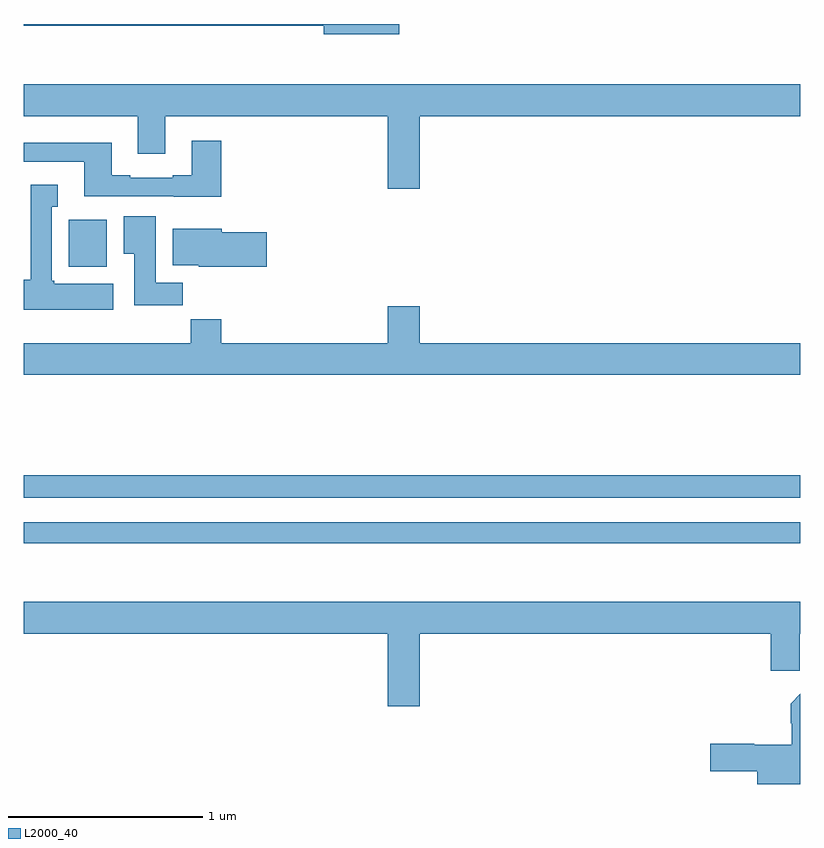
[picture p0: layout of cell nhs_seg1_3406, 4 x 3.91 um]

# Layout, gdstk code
import gdstk
lib = gdstk.Library(unit=1e-6, precision=1e-09)
def R(c, l, rs):  # rectangles x0, y0, x1, y1
    for r in rs: c.add(gdstk.rectangle(r[:2], r[2:], *l))
def P(c, l, *ps):  # polygons
    for p in ps: c.add(gdstk.Polygon(p, *l))
L2000_40 = (2000, 40)

nhs_seg1_3406 = lib.new_cell('nhs_seg1_3406')
R(nhs_seg1_3406, L2000_40, [(295,557.526,299,557.634), (295,557.76,299,557.876), (295.232,558.95,295.429,559.192)])
P(nhs_seg1_3406, L2000_40, [(296.935,560.199),(295,560.199),(295,560.19),(296.546,560.19),(296.546,560.147),(296.935,560.147)],
  [(297.04,559.724),(299,559.724),(299,559.888),(295,559.888),(295,559.724),(295.589,559.724),(295.589,559.53),(295.729,559.53),(295.729,559.724),(296.876,559.724),(296.876,559.35),(297.04,559.35)],
  [(296.018,559.597),(295.865,559.597),(295.865,559.42),(295.769,559.42),(295.769,559.407),(295.549,559.407),(295.549,559.42),(295.453,559.42),(295.453,559.588),(295,559.588),(295,559.491),(295.313,559.491),(295.313,559.311),(295.773,559.311),(295.773,559.31),(296.018,559.31)],
  [(295.462,558.862),(295.158,558.862),(295.158,558.876),(295.144,558.876),(295.144,559.259),(295.177,559.259),(295.177,559.372),(295.037,559.372),(295.037,558.882),(295,558.882),(295,558.728),(295.462,558.728)],
  [(295.82,558.868),(295.681,558.868),(295.681,559.21),(295.517,559.21),(295.517,559.016),(295.571,559.016),(295.571,558.75),(295.82,558.75)],
  [(296.251,559.127),(296.02,559.127),(296.02,559.144),(295.769,559.144),(295.769,558.956),(295.902,558.956),(295.902,558.95),(296.251,558.95)],
  [(296.876,558.745),(296.876,558.556),(296.018,558.556),(296.018,558.68),(295.861,558.68),(295.861,558.556),(295,558.556),(295,558.392),(299,558.392),(299,558.556),(297.04,558.556),(297.04,558.745)],
  [(297.04,557.06),(298.847,557.06),(298.847,556.869),(298.997,556.869),(298.997,557.06),(299,557.06),(299,557.224),(295,557.224),(295,557.06),(296.876,557.06),(296.876,556.686),(297.04,556.686)],
  [(299,556.75),(298.949,556.699),(298.949,556.598),(298.955,556.598),(298.955,556.488),(298.761,556.488),(298.761,556.493),(298.536,556.493),(298.536,556.351),(298.778,556.351),(298.778,556.286),(299,556.286)])

lib.write_gds('nhs_seg1_3406.gds')
